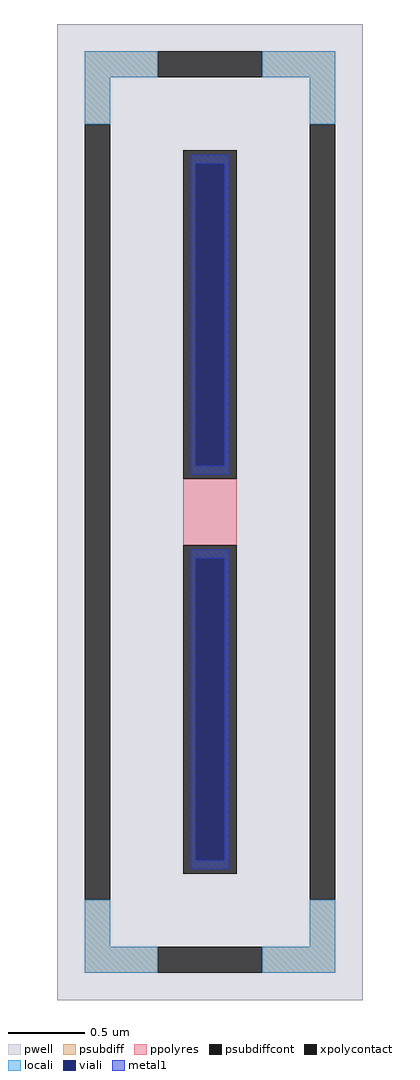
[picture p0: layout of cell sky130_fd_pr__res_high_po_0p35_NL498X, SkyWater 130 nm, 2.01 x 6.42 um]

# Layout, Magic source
magic
tech sky130A
magscale 1 2
<< pwell >>
rect -201 -642 201 642
<< psubdiff >>
rect -165 572 -69 606
rect 69 572 165 606
rect -165 510 -131 572
rect 131 510 165 572
rect -165 -572 -131 -510
rect 131 -572 165 -510
rect -165 -606 -69 -572
rect 69 -606 165 -572
<< psubdiffcont >>
rect -69 572 69 606
rect -165 -510 -131 510
rect 131 -510 165 510
rect -69 -606 69 -572
<< xpolycontact >>
rect -35 44 35 476
rect -35 -476 35 -44
<< ppolyres >>
rect -35 -44 35 44
<< locali >>
rect -165 572 -69 606
rect 69 572 165 606
rect -165 510 -131 572
rect 131 510 165 572
rect -165 -572 -131 -510
rect 131 -572 165 -510
rect -165 -606 -69 -572
rect 69 -606 165 -572
<< viali >>
rect -19 61 19 458
rect -19 -458 19 -61
<< metal1 >>
rect -25 458 25 470
rect -25 61 -19 458
rect 19 61 25 458
rect -25 49 25 61
rect -25 -61 25 -49
rect -25 -458 -19 -61
rect 19 -458 25 -61
rect -25 -470 25 -458
<< properties >>
string FIXED_BBOX -148 -589 148 589
string gencell sky130_fd_pr__res_high_po_0p35
string library sky130
string parameters w 0.350 l 0.6 m 1 nx 1 wmin 0.350 lmin 0.50 rho 319.8 val 1.661k dummy 0 dw 0.0 term 194.82 sterm 0.0 caplen 0 guard 1 glc 1 grc 1 gtc 1 gbc 1 compatible {sky130_fd_pr__res_high_po_0p35  sky130_fd_pr__res_high_po_0p69 sky130_fd_pr__res_high_po_1p41  sky130_fd_pr__res_high_po_2p85 sky130_fd_pr__res_high_po_5p73} snake 0 full_metal 1 wmax 0.350 vias 1 n_guard 0 hv_guard 0 viagb 0 viagt 0 viagl 0 viagr 0
<< end >>
